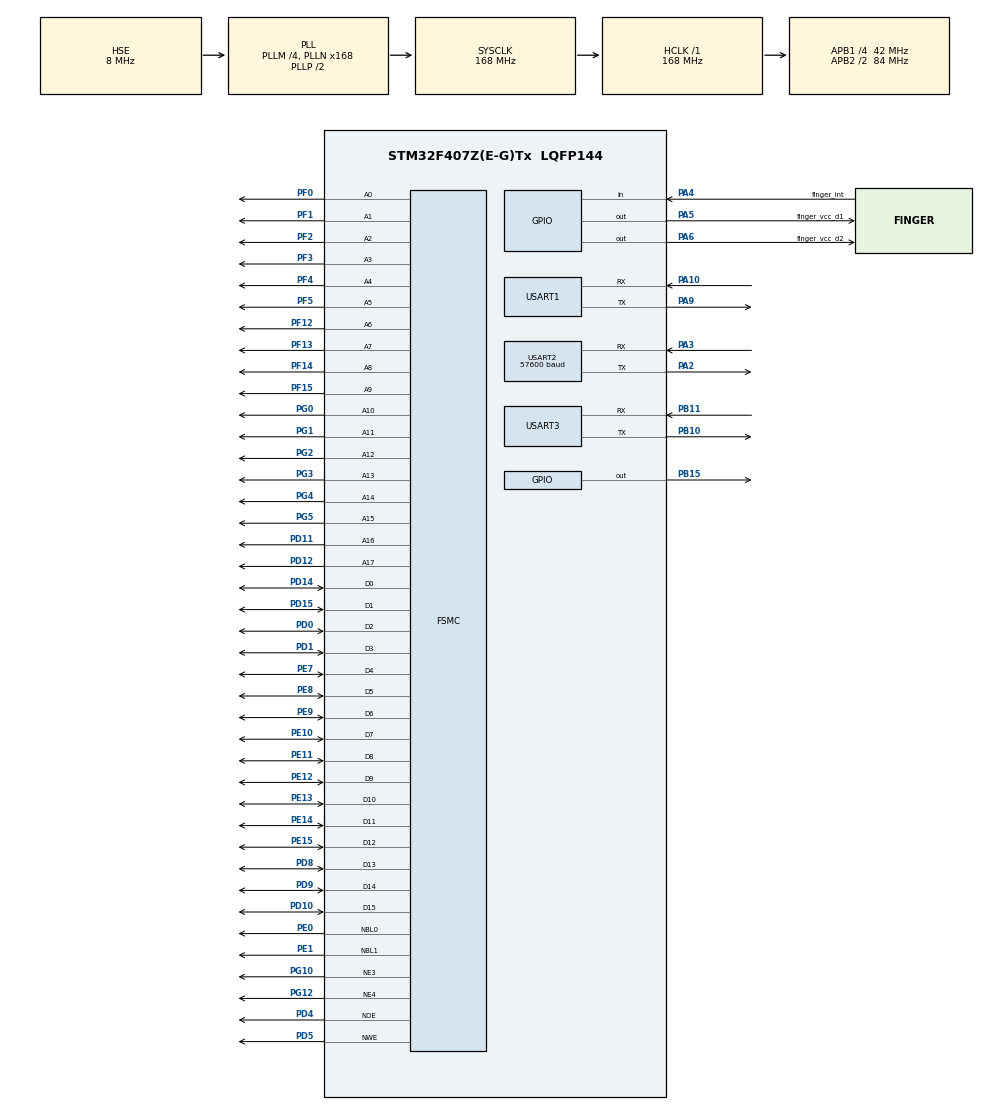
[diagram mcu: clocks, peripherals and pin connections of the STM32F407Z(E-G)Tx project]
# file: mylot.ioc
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Dma.Request0=USART1_RX
Dma.Request1=USART1_TX
Dma.Request2=USART2_RX
Dma.USART1_RX.0.Direction=DMA_PERIPH_TO_MEMORY
Dma.USART1_RX.0.FIFOMode=DMA_FIFOMODE_DISABLE
Dma.USART1_RX.0.Instance=DMA2_Stream2
Dma.USART1_RX.0.MemDataAlignment=DMA_MDATAALIGN_BYTE
Dma.USART1_RX.0.MemInc=DMA_MINC_ENABLE
Dma.USART1_RX.0.Mode=DMA_NORMAL
Dma.USART1_RX.0.PeriphDataAlignment=DMA_PDATAALIGN_BYTE
Dma.USART1_RX.0.PeriphInc=DMA_PINC_DISABLE
Dma.USART1_RX.0.Priority=DMA_PRIORITY_MEDIUM
Dma.USART1_TX.1.Direction=DMA_MEMORY_TO_PERIPH
Dma.USART1_TX.1.FIFOMode=DMA_FIFOMODE_DISABLE
Dma.USART1_TX.1.Instance=DMA2_Stream7
Dma.USART1_TX.1.MemDataAlignment=DMA_MDATAALIGN_BYTE
Dma.USART1_TX.1.MemInc=DMA_MINC_ENABLE
Dma.USART1_TX.1.Mode=DMA_NORMAL
Dma.USART1_TX.1.PeriphDataAlignment=DMA_PDATAALIGN_BYTE
Dma.USART1_TX.1.PeriphInc=DMA_PINC_DISABLE
Dma.USART1_TX.1.Priority=DMA_PRIORITY_LOW
Dma.USART2_RX.2.Direction=DMA_PERIPH_TO_MEMORY
Dma.USART2_RX.2.FIFOMode=DMA_FIFOMODE_DISABLE
Dma.USART2_RX.2.Instance=DMA1_Stream5
Dma.USART2_RX.2.MemDataAlignment=DMA_MDATAALIGN_BYTE
Dma.USART2_RX.2.MemInc=DMA_MINC_ENABLE
Dma.USART2_RX.2.Mode=DMA_NORMAL
Dma.USART2_RX.2.PeriphDataAlignment=DMA_PDATAALIGN_BYTE
Dma.USART2_RX.2.PeriphInc=DMA_PINC_DISABLE
Dma.USART2_RX.2.Priority=DMA_PRIORITY_LOW
FREERTOS.INCLUDE_uxTaskGetStackHighWaterMark=1
FREERTOS.INCLUDE_vTaskDelayUntil=1
FREERTOS.MEMORY_ALLOCATION=2
FREERTOS.Tasks01=MessageHandle,1,256,MessageHandle_task,Default,NULL,Dynamic,NULL,NULL;GuiPollHandle,0,2048,GuiPollHandle_task,Default,NULL,Dynamic,NULL,NULL;DevHandle,-3,256,DevHandle_task,Default,NULL,Dynamic,NULL,NULL;DevUrgentHandle,-3,256,DevUrgentHandle_task,Default,NULL,Dynamic,NULL,NULL;FpHandle,-3,256,FpHandle_task,Default,NULL,Dynamic,NULL,NULL
FREERTOS.configTIMER_QUEUE_LENGTH=20
FREERTOS.configTIMER_TASK_STACK_DEPTH=256
FREERTOS.configTOTAL_HEAP_SIZE=20000
FREERTOS.configUSE_TIMERS=1
FSMC.AddressSetupTime1=2
FSMC.AddressSetupTime2=2
FSMC.DataSetupTime1=5
FSMC.DataSetupTime2=5
FSMC.WriteOperation1=FSMC_WRITE_OPERATION_ENABLE
Mcu.Family=STM32F4
Mcu.Name=STM32F407Z(E-G)Tx
Mcu.Package=LQFP144
NVIC.DMA1_Stream5_IRQn=true\:5\:0\:false\:false\:true\:true\:false\:true
NVIC.DMA2_Stream2_IRQn=true\:5\:0\:false\:false\:true\:true\:false\:true
NVIC.DMA2_Stream7_IRQn=true\:5\:0\:false\:false\:true\:true\:false\:true
NVIC.PriorityGroup=NVIC_PRIORITYGROUP_4
NVIC.TIM1_UP_TIM10_IRQn=true\:0\:0\:false\:false\:true\:false\:false\:true
NVIC.TimeBase=TIM1_UP_TIM10_IRQn
NVIC.TimeBaseIP=TIM1
NVIC.USART1_IRQn=true\:5\:0\:true\:false\:true\:true\:true\:true
NVIC.USART2_IRQn=true\:5\:0\:false\:false\:true\:true\:true\:true
PA10.Mode=Asynchronous
PA10.Signal=USART1_RX
PA13.Mode=Serial_Wire
PA13.Signal=SYS_JTMS-SWDIO
PA14.Mode=Serial_Wire
PA14.Signal=SYS_JTCK-SWCLK
PA2.Mode=Asynchronous
PA2.Signal=USART2_TX
PA3.Mode=Asynchronous
PA3.Signal=USART2_RX
PA4.GPIO_Label=finger_int
PA4.Signal=GPIO_Input
PA5.GPIO_Label=finger_vcc_d1
PA5.GPIO_PuPd=GPIO_PULLUP
PA5.Signal=GPIO_Output
PA6.GPIO_Label=finger_vcc_d2
PA6.GPIO_ModeDefaultOutputPP=GPIO_MODE_OUTPUT_PP
PA6.GPIO_PuPd=GPIO_PULLUP
PA6.Signal=GPIO_Output
PA9.Mode=Asynchronous
PA9.Signal=USART1_TX
PB10.Mode=Asynchronous
PB10.Signal=USART3_TX
PB11.Mode=Asynchronous
PB11.Signal=USART3_RX
PB15.GPIO_PuPd=GPIO_PULLUP
PB15.PinState=GPIO_PIN_SET
PB15.Signal=GPIO_Output
PD0.Signal=FSMC_D2_DA2
PD1.Signal=FSMC_D3_DA3
PD10.Signal=FSMC_D15_DA15
PD11.Signal=FSMC_A16_CLE
PD12.Signal=FSMC_A17_ALE
PD14.Signal=FSMC_D0_DA0
PD15.Signal=FSMC_D1_DA1
PD4.Signal=FSMC_NOE
PD5.Signal=FSMC_NWE
PD8.Signal=FSMC_D13_DA13
PD9.Signal=FSMC_D14_DA14
PE0.Signal=FSMC_NBL0
PE1.Signal=FSMC_NBL1
PE10.Signal=FSMC_D7_DA7
PE11.Signal=FSMC_D8_DA8
PE12.Signal=FSMC_D9_DA9
PE13.Signal=FSMC_D10_DA10
PE14.Signal=FSMC_D11_DA11
PE15.Signal=FSMC_D12_DA12
PE7.Signal=FSMC_D4_DA4
PE8.Signal=FSMC_D5_DA5
PE9.Signal=FSMC_D6_DA6
PF0.Signal=FSMC_A0
PF1.Signal=FSMC_A1
PF12.Signal=FSMC_A6
PF13.Signal=FSMC_A7
PF14.Signal=FSMC_A8
PF15.Signal=FSMC_A9
PF2.Signal=FSMC_A2
PF3.Signal=FSMC_A3
PF4.Signal=FSMC_A4
PF5.Signal=FSMC_A5
PG0.Signal=FSMC_A10
PG1.Signal=FSMC_A11
PG10.Mode=NorPsramChipSelect3_1
PG10.Signal=FSMC_NE3
PG12.Mode=NorPsramChipSelect4_2
PG12.Signal=FSMC_NE4
PG2.Signal=FSMC_A12
PG3.Signal=FSMC_A13
PG4.Signal=FSMC_A14
PG5.Signal=FSMC_A15
PH0-OSC_IN.Mode=HSE-External-Oscillator
PH0-OSC_IN.Signal=RCC_OSC_IN
PH1-OSC_OUT.Mode=HSE-External-Oscillator
PH1-OSC_OUT.Signal=RCC_OSC_OUT
ProjectManager.HeapSize=0x1200
ProjectManager.StackSize=0x1200
ProjectManager.TargetToolchain=MDK-ARM V5.27
RCC.48MHZClocksFreq_Value=42000000
RCC.AHBFreq_Value=168000000
RCC.APB1CLKDivider=RCC_HCLK_DIV4
RCC.APB1Freq_Value=42000000
RCC.APB1TimFreq_Value=84000000
RCC.APB2CLKDivider=RCC_HCLK_DIV2
RCC.APB2Freq_Value=84000000
RCC.APB2TimFreq_Value=168000000
RCC.CortexFreq_Value=168000000
RCC.HCLKFreq_Value=168000000
RCC.HSE_VALUE=8000000
RCC.HSI_VALUE=16000000
RCC.LSE_VALUE=32768
RCC.PLLM=4
RCC.PLLN=168
RCC.PLLQ=8
RCC.PLLSourceVirtual=RCC_PLLSOURCE_HSE
RCC.SYSCLKFreq_VALUE=168000000
RCC.SYSCLKSource=RCC_SYSCLKSOURCE_PLLCLK
RCC.VCOOutputFreq_Value=336000000
SH.FSMC_A0.0=FSMC_A0,18b-a1
SH.FSMC_A1.0=FSMC_A1,18b-a1
SH.FSMC_A10.0=FSMC_A10,18b-a1
SH.FSMC_A11.0=FSMC_A11,18b-a1
SH.FSMC_A12.0=FSMC_A12,18b-a1
SH.FSMC_A13.0=FSMC_A13,18b-a1
SH.FSMC_A14.0=FSMC_A14,18b-a1
SH.FSMC_A15.0=FSMC_A15,18b-a1
SH.FSMC_A16_CLE.0=FSMC_A16,18b-a1
SH.FSMC_A17_ALE.0=FSMC_A17,18b-a1
SH.FSMC_A2.0=FSMC_A2,18b-a1
SH.FSMC_A3.0=FSMC_A3,18b-a1
SH.FSMC_A4.0=FSMC_A4,18b-a1
SH.FSMC_A5.0=FSMC_A5,18b-a1
SH.FSMC_A6.0=FSMC_A6,18b-a1
SH.FSMC_A6.1=FSMC_A6,A6_2
SH.FSMC_A7.0=FSMC_A7,18b-a1
SH.FSMC_A8.0=FSMC_A8,18b-a1
SH.FSMC_A9.0=FSMC_A9,18b-a1
SH.FSMC_D0_DA0.0=FSMC_D0,16b-d1
SH.FSMC_D0_DA0.1=FSMC_D0,16b-d2
SH.FSMC_D10_DA10.0=FSMC_D10,16b-d1
SH.FSMC_D10_DA10.1=FSMC_D10,16b-d2
SH.FSMC_D11_DA11.0=FSMC_D11,16b-d1
SH.FSMC_D11_DA11.1=FSMC_D11,16b-d2
SH.FSMC_D12_DA12.0=FSMC_D12,16b-d1
SH.FSMC_D12_DA12.1=FSMC_D12,16b-d2
SH.FSMC_D13_DA13.0=FSMC_D13,16b-d1
SH.FSMC_D13_DA13.1=FSMC_D13,16b-d2
SH.FSMC_D14_DA14.0=FSMC_D14,16b-d1
SH.FSMC_D14_DA14.1=FSMC_D14,16b-d2
SH.FSMC_D15_DA15.0=FSMC_D15,16b-d1
SH.FSMC_D15_DA15.1=FSMC_D15,16b-d2
SH.FSMC_D1_DA1.0=FSMC_D1,16b-d1
SH.FSMC_D1_DA1.1=FSMC_D1,16b-d2
SH.FSMC_D2_DA2.0=FSMC_D2,16b-d1
SH.FSMC_D2_DA2.1=FSMC_D2,16b-d2
SH.FSMC_D3_DA3.0=FSMC_D3,16b-d1
SH.FSMC_D3_DA3.1=FSMC_D3,16b-d2
SH.FSMC_D4_DA4.0=FSMC_D4,16b-d1
SH.FSMC_D4_DA4.1=FSMC_D4,16b-d2
SH.FSMC_D5_DA5.0=FSMC_D5,16b-d1
SH.FSMC_D5_DA5.1=FSMC_D5,16b-d2
SH.FSMC_D6_DA6.0=FSMC_D6,16b-d1
SH.FSMC_D6_DA6.1=FSMC_D6,16b-d2
SH.FSMC_D7_DA7.0=FSMC_D7,16b-d1
SH.FSMC_D7_DA7.1=FSMC_D7,16b-d2
SH.FSMC_D8_DA8.0=FSMC_D8,16b-d1
SH.FSMC_D8_DA8.1=FSMC_D8,16b-d2
SH.FSMC_D9_DA9.0=FSMC_D9,16b-d1
SH.FSMC_D9_DA9.1=FSMC_D9,16b-d2
SH.FSMC_NBL0.0=FSMC_NBL0,2ByteEnable1
SH.FSMC_NBL1.0=FSMC_NBL1,2ByteEnable1
SH.FSMC_NOE.0=FSMC_NOE,Sram1
SH.FSMC_NOE.1=FSMC_NOE,Lcd2
SH.FSMC_NWE.0=FSMC_NWE,Sram1
SH.FSMC_NWE.1=FSMC_NWE,Lcd2
USART1.VirtualMode=VM_ASYNC
USART2.BaudRate=57600
USART2.OverSampling=UART_OVERSAMPLING_8
USART2.VirtualMode=VM_ASYNC
USART3.VirtualMode=VM_ASYNC
VP_CRC_VS_CRC.Mode=CRC_Activate
VP_FREERTOS_VS_CMSIS_V1.Mode=CMSIS_V1
VP_SYS_VS_tim1.Mode=TIM1
board=custom

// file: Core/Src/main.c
/* USER CODE BEGIN Header */
/**
  ******************************************************************************
  * @file           : main.c
  * @brief          : Main program body
  ******************************************************************************
  * @attention
  *
  * <h2><center>&copy; Copyright (c) 2022 STMicroelectronics.
  * All rights reserved.</center></h2>
  *
  * This software component is licensed by ST under Ultimate Liberty license
  * SLA0044, the "License"; You may not use this file except in compliance with
  * the License. You may obtain a copy of the License at:
  *                             www.st.com/SLA0044
  *
  ******************************************************************************
  */
/* USER CODE END Header */
#include "main.h"
#include "cmsis_os.h"
#include "crc.h"
#include "dma.h"
#include "usart.h"
#include "gpio.h"
#include "fsmc.h"

/* USER CODE BEGIN Includes */
#include "message.h"
#define RXLENGHT 128
/* USER CODE END Includes */

void SystemClock_Config(void);
void MX_FREERTOS_Init(void);

int main(void)
{

  /* MCU Configuration--------------------------------------------------------*/

  /* Reset of all peripherals, Initializes the Flash interface and the Systick. */
  HAL_Init();

  /* Configure the system clock */
  SystemClock_Config();

  /* Initialize all configured peripherals */
  MX_GPIO_Init();
  MX_DMA_Init();
  MX_USART1_UART_Init();
  MX_USART3_UART_Init();
  MX_CRC_Init();
  MX_FSMC_Init();
  MX_USART2_UART_Init();

  /* Call init function for freertos objects (in freertos.c) */
  MX_FREERTOS_Init();
  /* Start scheduler */
  osKernelStart();

  /* We should never get here as control is now taken by the scheduler */
  /* Infinite loop */
  while (1)
  {

  }
}

void SystemClock_Config(void)
{
  RCC_OscInitTypeDef RCC_OscInitStruct = {0};
  RCC_ClkInitTypeDef RCC_ClkInitStruct = {0};

  /** Configure the main internal regulator output voltage
  */
  __HAL_RCC_PWR_CLK_ENABLE();
  __HAL_PWR_VOLTAGESCALING_CONFIG(PWR_REGULATOR_VOLTAGE_SCALE1);
  /** Initializes the RCC Oscillators according to the specified parameters
  * in the RCC_OscInitTypeDef structure.
  */
  RCC_OscInitStruct.OscillatorType = RCC_OSCILLATORTYPE_HSE;
  RCC_OscInitStruct.HSEState = RCC_HSE_ON;
  RCC_OscInitStruct.PLL.PLLState = RCC_PLL_ON;
  RCC_OscInitStruct.PLL.PLLSource = RCC_PLLSOURCE_HSE;
  RCC_OscInitStruct.PLL.PLLM = 4;
  RCC_OscInitStruct.PLL.PLLN = 168;
  RCC_OscInitStruct.PLL.PLLP = RCC_PLLP_DIV2;
  RCC_OscInitStruct.PLL.PLLQ = 8;
  if (HAL_RCC_OscConfig(&RCC_OscInitStruct) != HAL_OK)
  {
    Error_Handler();
  }
  /** Initializes the CPU, AHB and APB buses clocks
  */
  RCC_ClkInitStruct.ClockType = RCC_CLOCKTYPE_HCLK|RCC_CLOCKTYPE_SYSCLK
                              |RCC_CLOCKTYPE_PCLK1|RCC_CLOCKTYPE_PCLK2;
  RCC_ClkInitStruct.SYSCLKSource = RCC_SYSCLKSOURCE_PLLCLK;
  RCC_ClkInitStruct.AHBCLKDivider = RCC_SYSCLK_DIV1;
  RCC_ClkInitStruct.APB1CLKDivider = RCC_HCLK_DIV4;
  RCC_ClkInitStruct.APB2CLKDivider = RCC_HCLK_DIV2;

  if (HAL_RCC_ClockConfig(&RCC_ClkInitStruct, FLASH_LATENCY_5) != HAL_OK)
  {
    Error_Handler();
  }
}

 /**
  * @brief  Period elapsed callback in non blocking mode
  * @note   This function is called  when TIM1 interrupt took place, inside
  * HAL_TIM_IRQHandler(). It makes a direct call to HAL_IncTick() to increment
  * a global variable "uwTick" used as application time base.
  * @param  htim : TIM handle
  * @retval None
  */
void HAL_TIM_PeriodElapsedCallback(TIM_HandleTypeDef *htim)
{
  if (htim->Instance == TIM1) {
    HAL_IncTick();
  }
}

void Error_Handler(void)
{
  __disable_irq();
  while (1)
  {
  }
}

#ifdef  USE_FULL_ASSERT
/**
  * @brief  Reports the name of the source file and the source line number
  *         where the assert_param error has occurred.
  * @param  file: pointer to the source file name
  * @param  line: assert_param error line source number
  * @retval None
  */
void assert_failed(uint8_t *file, uint32_t line)
{
  /* USER CODE BEGIN 6 */
	//A_Log err line and data
	A_Log("The wrong line: %d ; err:%s\r\n", line, file);
  /* User can add his own implementation to report the file name and line number,
     ex: printf("Wrong parameters value: file %s on line %d\r\n", file, line) */
  /* USER CODE END 6 */
}
#endif /* USE_FULL_ASSERT */

/************************ (C) COPYRIGHT STMicroelectronics *****END OF FILE****/

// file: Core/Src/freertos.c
/* USER CODE BEGIN Header */
/**
  ******************************************************************************
  * File Name          : freertos.c
  * Description        : Code for freertos applications
  ******************************************************************************
  * @attention
  *
  * <h2><center>&copy; Copyright (c) 2022 STMicroelectronics.
  * All rights reserved.</center></h2>
  *
  * This software component is licensed by ST under Ultimate Liberty license
  * SLA0044, the "License"; You may not use this file except in compliance with
  * the License. You may obtain a copy of the License at:
  *                             www.st.com/SLA0044
  *
  ******************************************************************************
  */
/* USER CODE END Header */

#include "FreeRTOS.h"
#include "task.h"
#include "main.h"
#include "cmsis_os.h"

/* USER CODE BEGIN Includes */
#include <stdio.h>
#include "message.h"
#include "gui_poll_handle.h"
#include "myLcd.h"
#include "touch.h"
#include "GUI.h"
#include <stdint.h>
#include "mygui_api.h"
#include "dev_handle.h"
#include "wifi_app.h"
#include "fingerprint_app.h"
#include "gui_app.h"
#include "message_handle.h"
/* USER CODE END Includes */

osThreadId MessageHandleHandle;
osThreadId GuiPollHandleHandle;
osThreadId DevHandleHandle;
osThreadId DevUrgentHandleHandle;
osThreadId FpHandleHandle;

void MessageHandle_task(void const * argument);
void GuiPollHandle_task(void const * argument);
void DevHandle_task(void const * argument);
void DevUrgentHandle_task(void const * argument);
void FpHandle_task(void const * argument);

void MX_FREERTOS_Init(void); /* (MISRA C 2004 rule 8.1) */

/* GetIdleTaskMemory prototype (linked to static allocation support) */
void vApplicationGetIdleTaskMemory( StaticTask_t **ppxIdleTaskTCBBuffer, StackType_t **ppxIdleTaskStackBuffer, uint32_t *pulIdleTaskStackSize );

/* GetTimerTaskMemory prototype (linked to static allocation support) */
void vApplicationGetTimerTaskMemory( StaticTask_t **ppxTimerTaskTCBBuffer, StackType_t **ppxTimerTaskStackBuffer, uint32_t *pulTimerTaskStackSize );

/* USER CODE BEGIN GET_IDLE_TASK_MEMORY */
static StaticTask_t xIdleTaskTCBBuffer;
static StackType_t xIdleStack[configMINIMAL_STACK_SIZE];

void vApplicationGetIdleTaskMemory( StaticTask_t **ppxIdleTaskTCBBuffer, StackType_t **ppxIdleTaskStackBuffer, uint32_t *pulIdleTaskStackSize )
{
  *ppxIdleTaskTCBBuffer = &xIdleTaskTCBBuffer;
  *ppxIdleTaskStackBuffer = &xIdleStack[0];
  *pulIdleTaskStackSize = configMINIMAL_STACK_SIZE;
  /* place for user code */
}
/* USER CODE END GET_IDLE_TASK_MEMORY */

/* USER CODE BEGIN GET_TIMER_TASK_MEMORY */
static StaticTask_t xTimerTaskTCBBuffer;
static StackType_t xTimerStack[configTIMER_TASK_STACK_DEPTH];

void vApplicationGetTimerTaskMemory( StaticTask_t **ppxTimerTaskTCBBuffer, StackType_t **ppxTimerTaskStackBuffer, uint32_t *pulTimerTaskStackSize )
{
  *ppxTimerTaskTCBBuffer = &xTimerTaskTCBBuffer;
  *ppxTimerTaskStackBuffer = &xTimerStack[0];
  *pulTimerTaskStackSize = configTIMER_TASK_STACK_DEPTH;
  /* place for user code */
}
/* USER CODE END GET_TIMER_TASK_MEMORY */

void MX_FREERTOS_Init(void) {

  /* Create the thread(s) */
  /* definition and creation of MessageHandle */
  osThreadDef(MessageHandle, MessageHandle_task, osPriorityAboveNormal, 0, 256);
  MessageHandleHandle = osThreadCreate(osThread(MessageHandle), NULL);

  /* definition and creation of GuiPollHandle */
  osThreadDef(GuiPollHandle, GuiPollHandle_task, osPriorityNormal, 0, 2048);
  GuiPollHandleHandle = osThreadCreate(osThread(GuiPollHandle), NULL);

  /* definition and creation of DevHandle */
  osThreadDef(DevHandle, DevHandle_task, osPriorityIdle, 0, 256);
  DevHandleHandle = osThreadCreate(osThread(DevHandle), NULL);

  /* definition and creation of DevUrgentHandle */
  osThreadDef(DevUrgentHandle, DevUrgentHandle_task, osPriorityIdle, 0, 256);
  DevUrgentHandleHandle = osThreadCreate(osThread(DevUrgentHandle), NULL);

  /* definition and creation of FpHandle */
  osThreadDef(FpHandle, FpHandle_task, osPriorityIdle, 0, 256);
  FpHandleHandle = osThreadCreate(osThread(FpHandle), NULL);

}

void MessageHandle_task(void const * argument)
{
  /* USER CODE BEGIN MessageHandle_task */
  message_handle(MessageHandleHandle);
  /* Infinite loop */
  for(;;)
  {
    osDelay(1);
  }
  /* USER CODE END MessageHandle_task */
}

void GuiPollHandle_task(void const * argument)
{
  /* USER CODE BEGIN GuiPollHandle_task */
	gui_poll_handle(GuiPollHandleHandle);
  /* Infinite loop */
  for(;;)
  {
    osDelay(1);
  }
  /* USER CODE END GuiPollHandle_task */
}

void DevHandle_task(void const * argument)
{
  /* USER CODE BEGIN DevHandle_task */
  dev_handle();//驱动层初始化
	vTaskDelay(1000);
	gui_app_main();
  /* Infinite loop */
  for(;;)
  {
    osDelay(1);
  }
  /* USER CODE END DevHandle_task */
}

void DevUrgentHandle_task(void const * argument)
{
  /* USER CODE BEGIN DevUrgentHandle_task */
	vTaskDelay(1000);
	wifi_app_main();
  /* Infinite loop */
  for(;;)
  {
    osDelay(1);
  }
  /* USER CODE END DevUrgentHandle_task */
}

void FpHandle_task(void const * argument)
{
  /* USER CODE BEGIN FpHandle_task */
	vTaskDelay(1000);
	fingerprint_app_main();
  /* Infinite loop */
  for(;;)
  {
    osDelay(1);
  }
  /* USER CODE END FpHandle_task */
}

/************************ (C) COPYRIGHT STMicroelectronics *****END OF FILE****/
